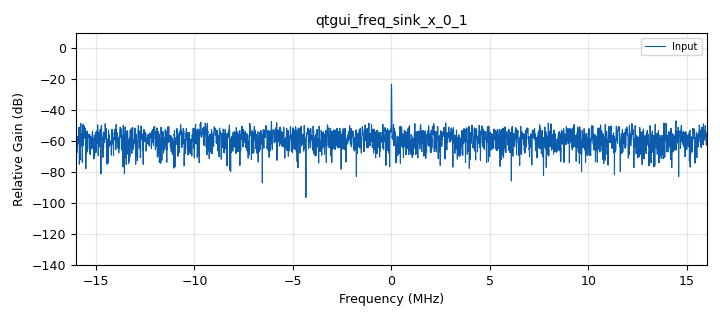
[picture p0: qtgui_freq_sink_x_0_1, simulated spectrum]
options:
  parameters:
    author: Daniel Estevez
    generate_options: qt_gui
    id: guppi_sink_example
    output_language: python
    title: GUPPI File Sink example
  states: {}

blocks:
- name: num_channels
  id: variable
  parameters:
    value: '64'
  states: {}
- name: num_taps
  id: variable
  parameters:
    value: taps_per_channel * num_channels
  states: {}
- name: polyphase_taps
  id: variable
  parameters:
    comment: Polyphase prototype filter designed using Remez
    value: scipy.signal.remez(num_taps, [0, 0.35/num_channels, 0.65/num_channels, 0.5], [1, 0])
  states: {}
- name: samp_rate
  id: variable
  parameters:
    value: 32e6
  states: {}
- name: taps_per_channel
  id: variable
  parameters:
    value: '8'
  states: {}
- name: analog_noise_source_x_0
  id: analog_noise_source_x
  parameters:
    amp: '0.2'
    noise_type: analog.GR_GAUSSIAN
    seed: '0'
    type: complex
  states: {}
- name: analog_sig_source_x_0
  id: analog_sig_source_x
  parameters:
    amp: 1/num_channels * 3
    freq: '0.1'
    offset: '-0.5/num_channels * 3'
    phase: '0'
    samp_rate: samp_rate
    type: float
    waveform: analog.GR_SAW_WAVE
  states: {}
- name: blocks_add_xx_0
  id: blocks_add_xx
  parameters:
    num_inputs: '8'
    type: complex
    vlen: num_channels
  states: {}
- name: blocks_add_xx_1
  id: blocks_add_xx
  parameters:
    type: complex
  states: {}
- name: blocks_complex_to_interleaved_char_0
  id: blocks_complex_to_interleaved_char
  parameters:
    scale_factor: '128'
    vector_output: 'False'
  states: {}
- name: blocks_delay_0
  id: blocks_delay
  parameters:
    delay: '1'
    type: complex
    vlen: num_channels
  states: {}
- name: blocks_delay_0_0
  id: blocks_delay
  parameters:
    delay: '2'
    type: complex
    vlen: num_channels
  states: {}
- name: blocks_delay_0_0_0
  id: blocks_delay
  parameters:
    delay: '6'
    type: complex
    vlen: num_channels
  states: {}
- name: blocks_delay_0_1
  id: blocks_delay
  parameters:
    delay: '3'
    type: complex
    vlen: num_channels
  states: {}
- name: blocks_delay_0_1_0
  id: blocks_delay
  parameters:
    delay: '7'
    type: complex
    vlen: num_channels
  states: {}
- name: blocks_delay_0_2
  id: blocks_delay
  parameters:
    delay: '4'
    type: complex
    vlen: num_channels
  states: {}
- name: blocks_delay_0_3
  id: blocks_delay
  parameters:
    delay: '5'
    type: complex
    vlen: num_channels
  states: {}
- name: blocks_multiply_const_vxx_0
  id: blocks_multiply_const_vxx
  parameters:
    const: polyphase_taps[0*num_channels:1*num_channels][::-1]
    type: complex
    vlen: num_channels
  states: {}
- name: blocks_multiply_const_vxx_0_0
  id: blocks_multiply_const_vxx
  parameters:
    const: polyphase_taps[1*num_channels:2*num_channels][::-1]
    type: complex
    vlen: num_channels
  states: {}
- name: blocks_multiply_const_vxx_0_0_0
  id: blocks_multiply_const_vxx
  parameters:
    const: polyphase_taps[2*num_channels:3*num_channels][::-1]
    type: complex
    vlen: num_channels
  states: {}
- name: blocks_multiply_const_vxx_0_0_0_0
  id: blocks_multiply_const_vxx
  parameters:
    const: polyphase_taps[3*num_channels:4*num_channels][::-1]
    type: complex
    vlen: num_channels
  states: {}
- name: blocks_multiply_const_vxx_0_0_0_0_0
  id: blocks_multiply_const_vxx
  parameters:
    const: polyphase_taps[4*num_channels:5*num_channels][::-1]
    type: complex
    vlen: num_channels
  states: {}
- name: blocks_multiply_const_vxx_0_0_0_0_0_0
  id: blocks_multiply_const_vxx
  parameters:
    const: polyphase_taps[5*num_channels:6*num_channels][::-1]
    type: complex
    vlen: num_channels
  states: {}
- name: blocks_multiply_const_vxx_0_0_0_0_0_0_0
  id: blocks_multiply_const_vxx
  parameters:
    const: polyphase_taps[6*num_channels:7*num_channels][::-1]
    type: complex
    vlen: num_channels
  states: {}
- name: blocks_multiply_const_vxx_0_0_0_0_0_0_0_0
  id: blocks_multiply_const_vxx
  parameters:
    const: polyphase_taps[7*num_channels:8*num_channels][::-1]
    type: complex
    vlen: num_channels
  states: {}
- name: blocks_stream_to_vector_0
  id: blocks_stream_to_vector
  parameters:
    num_items: num_channels
    type: complex
  states: {}
- name: blocks_stream_to_vector_1
  id: blocks_stream_to_vector
  parameters:
    num_items: 2 * num_channels
    type: byte
  states: {}
- name: blocks_throttle_0
  id: blocks_throttle
  parameters:
    samples_per_second: samp_rate
    type: complex
  states: {}
- name: blocks_vco_c_0
  id: blocks_vco_c
  parameters:
    amplitude: '0.2'
    samp_rate: samp_rate
    sensitivity: 2 * np.pi * samp_rate
  states: {}
- name: blocks_vector_to_stream_2
  id: blocks_vector_to_stream
  parameters:
    num_items: num_channels
    type: complex
  states: {}
- name: fft_vxx_0
  id: fft_vxx
  parameters:
    fft_size: num_channels
    forward: 'True'
    shift: 'True'
    type: complex
    window: '[]'
  states: {}
- name: guppi_guppi_sink_0
  id: guppi_guppi_sink
  parameters:
    filename: guppi_sink_example.0000.raw
    ndim: '512000'
    npol: '1'
    obsbw: samp_rate
    obsfreq: 1e9 - 0.5*samp_rate/num_channels
    obsnchan: num_channels
  states: {}
- name: import_0
  id: import
  parameters:
    imports: import scipy.signal
  states: {}
- name: import_1
  id: import
  parameters:
    imports: import numpy as np
  states: {}
- name: note_0
  id: note
  parameters:
    note: Input signal generation
  states: {}
- name: note_1
  id: note
  parameters:
    note: Polyphase filterbank
  states: {}
- name: note_2
  id: note
  parameters:
    note: GUPPI file output
  states: {}
- name: qtgui_freq_sink_x_0_1
  id: qtgui_freq_sink_x
  parameters:
    bw: samp_rate
    fc: '0'
    fftsize: '4096'
    label1: Input
    name: ''
    type: complex
  states: {}
- name: virtual_sink_0
  id: virtual_sink
  parameters:
    stream_id: signal
  states: {}
- name: virtual_sink_1
  id: virtual_sink
  parameters:
    stream_id: polyphase_out
  states: {}
- name: virtual_source_0
  id: virtual_source
  parameters:
    stream_id: signal
  states: {}
- name: virtual_source_3
  id: virtual_source
  parameters:
    stream_id: polyphase_out
  states: {}

connections:
- [analog_noise_source_x_0, '0', blocks_throttle_0, '0']
- [analog_sig_source_x_0, '0', blocks_vco_c_0, '0']
- [blocks_add_xx_0, '0', fft_vxx_0, '0']
- [blocks_add_xx_1, '0', qtgui_freq_sink_x_0_1, '0']
- [blocks_add_xx_1, '0', virtual_sink_0, '0']
- [blocks_complex_to_interleaved_char_0, '0', blocks_stream_to_vector_1, '0']
- [blocks_delay_0, '0', blocks_multiply_const_vxx_0_0, '0']
- [blocks_delay_0_0, '0', blocks_multiply_const_vxx_0_0_0, '0']
- [blocks_delay_0_0_0, '0', blocks_multiply_const_vxx_0_0_0_0_0_0_0, '0']
- [blocks_delay_0_1, '0', blocks_multiply_const_vxx_0_0_0_0, '0']
- [blocks_delay_0_1_0, '0', blocks_multiply_const_vxx_0_0_0_0_0_0_0_0, '0']
- [blocks_delay_0_2, '0', blocks_multiply_const_vxx_0_0_0_0_0, '0']
- [blocks_delay_0_3, '0', blocks_multiply_const_vxx_0_0_0_0_0_0, '0']
- [blocks_multiply_const_vxx_0, '0', blocks_add_xx_0, '0']
- [blocks_multiply_const_vxx_0_0, '0', blocks_add_xx_0, '1']
- [blocks_multiply_const_vxx_0_0_0, '0', blocks_add_xx_0, '2']
- [blocks_multiply_const_vxx_0_0_0_0, '0', blocks_add_xx_0, '3']
- [blocks_multiply_const_vxx_0_0_0_0_0, '0', blocks_add_xx_0, '4']
- [blocks_multiply_const_vxx_0_0_0_0_0_0, '0', blocks_add_xx_0, '5']
- [blocks_multiply_const_vxx_0_0_0_0_0_0_0, '0', blocks_add_xx_0, '6']
- [blocks_multiply_const_vxx_0_0_0_0_0_0_0_0, '0', blocks_add_xx_0, '7']
- [blocks_stream_to_vector_0, '0', blocks_delay_0, '0']
- [blocks_stream_to_vector_0, '0', blocks_delay_0_0, '0']
- [blocks_stream_to_vector_0, '0', blocks_delay_0_0_0, '0']
- [blocks_stream_to_vector_0, '0', blocks_delay_0_1, '0']
- [blocks_stream_to_vector_0, '0', blocks_delay_0_1_0, '0']
- [blocks_stream_to_vector_0, '0', blocks_delay_0_2, '0']
- [blocks_stream_to_vector_0, '0', blocks_delay_0_3, '0']
- [blocks_stream_to_vector_0, '0', blocks_multiply_const_vxx_0, '0']
- [blocks_stream_to_vector_1, '0', guppi_guppi_sink_0, '0']
- [blocks_throttle_0, '0', blocks_add_xx_1, '0']
- [blocks_vco_c_0, '0', blocks_add_xx_1, '1']
- [blocks_vector_to_stream_2, '0', blocks_complex_to_interleaved_char_0, '0']
- [fft_vxx_0, '0', virtual_sink_1, '0']
- [virtual_source_0, '0', blocks_stream_to_vector_0, '0']
- [virtual_source_3, '0', blocks_vector_to_stream_2, '0']

metadata:
  file_format: 1
  grc_version: 3.10.2.0
